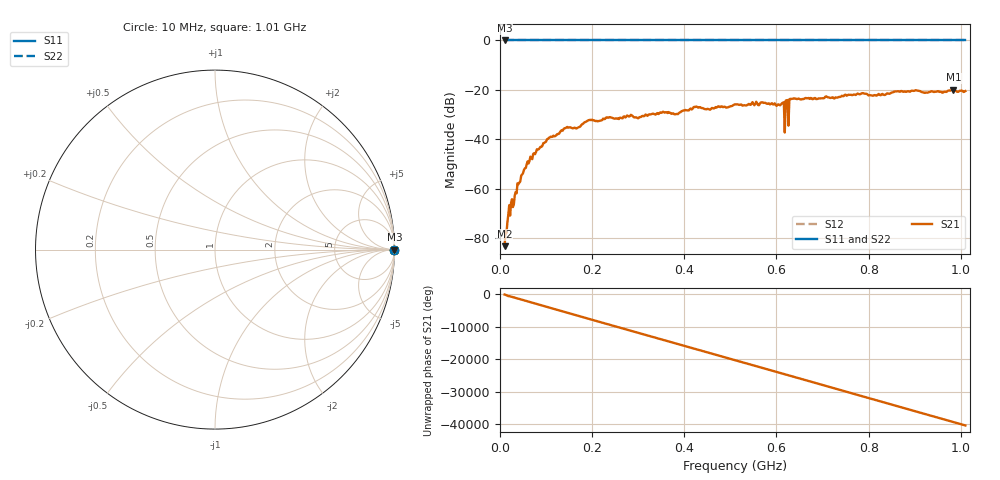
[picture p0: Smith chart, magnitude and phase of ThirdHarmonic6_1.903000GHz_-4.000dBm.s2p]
! 8/16/2025 10:57:48 PM
! C:\ANRITSUVNA\TEMP\TEMP.S2P
! CHANNEL.1
! TR.MEASUREMENT
! RAW.DATA
! RF.CORRECTION.OFF
! AVERAGING.OFF
! IF.BANDWIDTH: 5KHZ
! SWEEPTYPE:  FREQ.SWEEP(Linear)
! Reference Plane Port Info
! PORT:  PORT1  PORT2
! DISTANCE:  0  m  0  m
! TIME:  0  s  0  s
! PHASE.OFFSET:  0  deg.  0  deg.
! LOSS:  0  dB  0  dB
! REF.LOSS:  0  dB  0  dB
! REF.FREQ:  0  Hz  0  Hz
! Power Info
! POWER:  -20  dBm  -20  dBm
! EFF.POWER:  -20  dBm  -20  dBm
! SOURCE.ATTEN:  0  dB  0  dB
! TEST.ATTEN:  0  dB  0  dB
# GHZ S RI R 50.0
! FREQ.GHZ  S11RE  S11IM  S21RE  S21IM  S12RE  S12IM  S22RE  S22IM
!; PortSelection: Port_12
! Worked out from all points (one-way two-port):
!   501 points, 10 MHz to 1.01 GHz, reference 50 ohm
!   highest |S21| = -19.89 dB at 984 MHz (marker M1); lowest = -83.2 dB at 10 MHz (marker M2)
!   lowest |S11| = 0.0 dB at 10 MHz (marker M3)
!   |S11| at or under -10 dB: nowhere
!   |S22| runs from 0.0 to 0.0 dB; largest |S21 - S12| = 1.1
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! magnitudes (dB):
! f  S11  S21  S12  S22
! 10 MHz  0.0  -83.2  0.0  0.0
! 22 MHz  0.0  -70.8  0.0  0.0
! 32 MHz  0.0  -62.7  0.0  0.0
! 42 MHz  0.0  -57.5  0.0  0.0
! 62 MHz  0.0  -49.7  0.0  0.0
! 106 MHz  0.0  -39.4  0.0  0.0
! 142 MHz  0.0  -35.5  0.0  0.0
! 178 MHz  0.0  -33.9  0.0  0.0
! 196 MHz  0.0  -32.1  0.0  0.0
! 344 MHz  0.0  -29.8  0.0  0.0
! 510 MHz  0.0  -25.9  0.0  0.0
! 612 MHz  0.0  -25.4  0.0  0.0
! 614 MHz  0.0  -25.1  0.0  0.0
! 620 MHz  0.0  -24.4  0.0  0.0
! 622 MHz  0.0  -24.2  0.0  0.0
! 624 MHz  0.0  -24.1  0.0  0.0
! 630 MHz  0.0  -23.6  0.0  0.0
! 632 MHz  0.0  -23.7  0.0  0.0
! 678 MHz  0.0  -23.7  0.0  0.0
! 844 MHz  0.0  -21.6  0.0  0.0
! 984 MHz  0.0  -19.9  0.0  0.0
! 1.01 GHz  0.0  -20.5  0.0  0.0
